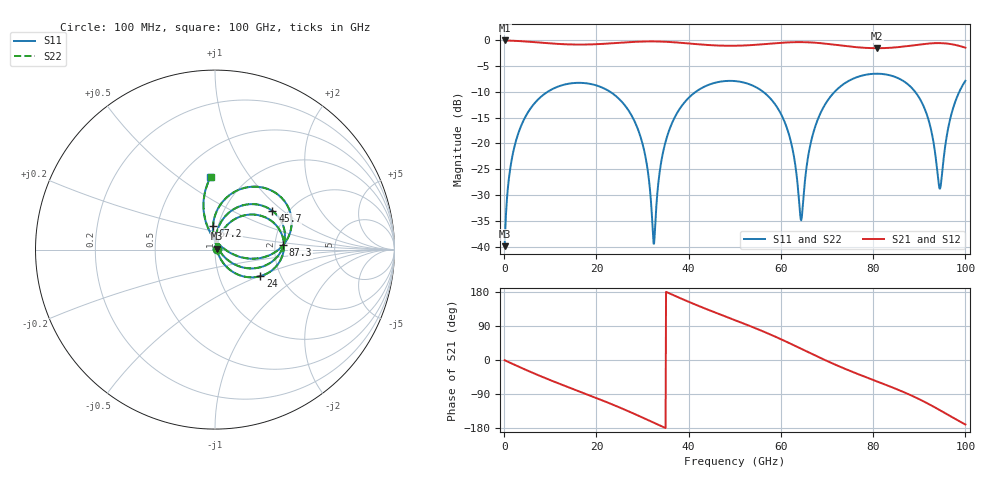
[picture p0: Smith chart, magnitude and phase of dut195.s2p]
! Touchstone file exported from HFSS 2026.1.0
!  File:  C:/ffzhzh/LocalFiles/Ansys_Project_Files/temp_train_TSV_RDL_195_1783656806_33328.aedt
!  Generated:  12:25:09 PM Jul 10, 2026
!  Design:  TSV_RDL
!  Project:  temp_train_TSV_RDL_195_1783656806_33328
! Variables:
!  h_bsmrdl = 2.97um
!  h_ox = 20um
!  h_rdl = 5um
!  h_sub = 71.57um
!  h_tmrdl = 2.23um
!  h_tsv = 71.57um
!  h_via = 3um
!  l_bsmrdl = 116.49um
!  l_sub = 1632.68um
!  l_tmrdl = 187.3um
!  m_sub = 200um
!  pitch = 44.94um
!  r_tsv = 10.1um
!  s_tmrdl = 10um
!  w_bsmrdl = 23.24um
!  w_sub = 500um
!  w_tmrdl = 21.43um
!  x_tsv_center1 = 198.015um
!  x_tsv_center2 = 337.745um
!  x_tsv_center3 = 546.475um
!  x_tsv_center4 = 686.205um
!  x_tsv_center5 = 894.935um
!  x_tsv_center6 = 1034.665um
# GHz S MA R 50.000000
! Terminal data exported
! Port[1] = TM_RDL1_1_T1
! Port[2] = TM_RDL5_1_T1
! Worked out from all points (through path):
!   1000 points, 100 MHz to 100 GHz, reference 50 ohm
!   highest |S21| = -0.08 dB at 100 MHz (marker M1); lowest = -1.6 dB at 80.9 GHz (marker M2)
!   group delay of S21, straight-line fit = 14.4 ps
!   lowest |S11| = -39.9 dB at 100 MHz (marker M3), VSWR 1.02, Z = 50.9 + j0.469 ohm
!   |S11| at or under -10 dB: 22.94 GHz to 41.57 GHz (18.63 GHz wide, 57.8 % of centre); 56.12 GHz to 71.67 GHz (15.55 GHz wide, 24.3 % of centre); 89.09 GHz to 98.69 GHz (9.599 GHz wide, 10.2 % of centre) (the widest 3 of 4)
!   |S22| runs from -39.9 to -6.5 dB; largest |S21 - S12| = 1.9e-14
!   S11 on the Smith chart (normalised r, x): 100 MHz: 1.02, +0.01; 24 GHz: 1.57, -0.51; 45.7 GHz: 1.67, +0.85; 67.2 GHz: 0.94, +0.26; 87.3 GHz: 2.22, +0.13; 100 GHz: 0.69, +0.66
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0.1  0.01011 27.1  0.991 -0.6  0.991 -0.6  0.01011 27.1
! Gamma 0 0 0 0
! Port Impedance 50 0 50 0
1.7  0.07212 70.6  0.9852 -9.6  0.9852 -9.6  0.07212 70.6
4.5  0.1771 60.5  0.9699 -24.9  0.9699 -24.9  0.1771 60.5
16.8  0.385 3.0  0.9043 -85.3  0.9043 -85.3  0.385 3.0
24  0.2926 -30.5  0.9341 -120.0  0.9341 -120.0  0.2926 -30.4
29.7  0.1107 -56.7  0.9666 -150.2  0.9666 -150.2  0.1107 -56.7
32.4  0.01069 2.0  0.9701 -165.2  0.9701 -165.2  0.01067 2.1
33.4  0.04025 82.6  0.9685 -170.8  0.9685 -170.8  0.04026 82.6
37.3  0.1898 73.5  0.9485 167.8  0.9485 167.8  0.1899 73.5
45.7  0.3859 33.9  0.8877 125.6  0.8877 125.6  0.3859 34.0
50.1  0.4006 14.1  0.881 104.9  0.881 104.9  0.4007 14.2
60  0.1932 -31.7  0.9402 54.9  0.9402 54.9  0.1933 -31.5
64.3  0.0184 16.8  0.955 30.2  0.955 30.2  0.01885 16.9
66.7  0.1115 95.9  0.9473 16.2  0.9473 16.2  0.1115 95.7
67.2  0.1345 94.7  0.9442 13.3  0.9442 13.3  0.1345 94.5
80.9  0.4722 32.5  0.8339 -56.8  0.8339 -56.8  0.4722 32.6
83.4  0.4586 21.5  0.8402 -68.6  0.8402 -68.6  0.4586 21.6
87.3  0.3802 3.7  0.8728 -88.2  0.8728 -88.2  0.3802 3.8
91.6  0.1924 -15.1  0.9218 -113.3  0.9218 -113.3  0.1926 -14.8
94.5  0.03647 50.4  0.9341 -132.6  0.9341 -132.6  0.03739 50.2
96.9  0.187 107.9  0.9133 -149.3  0.9133 -149.3  0.1871 107.6
100  0.4036 93.6  0.8438 -170.2  0.8438 -170.2  0.4036 93.5
